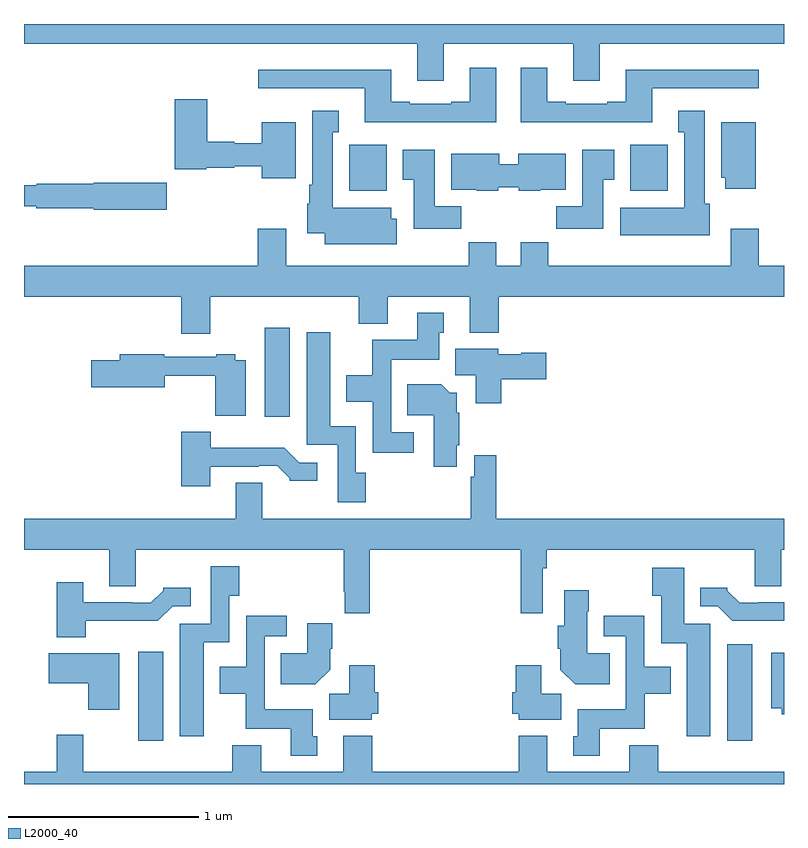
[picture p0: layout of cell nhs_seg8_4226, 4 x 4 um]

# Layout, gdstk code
import gdstk
lib = gdstk.Library(unit=1e-6, precision=1e-09)
def R(c, l, rs):  # rectangles x0, y0, x1, y1
    for r in rs: c.add(gdstk.rectangle(r[:2], r[2:], *l))
def P(c, l, *ps):  # polygons
    for p in ps: c.add(gdstk.Polygon(p, *l))
L2000_40 = (2000, 40)

nhs_seg8_4226 = lib.new_cell('nhs_seg8_4226')
R(nhs_seg8_4226, L2000_40, [(369.602,1150.128,369.733,1150.597), (372.701,1150.128,372.832,1150.636), (370.268,1151.832,370.399,1152.301), (370.712,1153.022,370.909,1153.264), (372.191,1153.022,372.388,1153.264)])
P(nhs_seg8_4226, L2000_40, [(371.209,1153.796),(371.891,1153.796),(371.891,1153.602),(372.031,1153.602),(372.031,1153.796),(373,1153.796),(373,1153.9),(369,1153.9),(369,1153.796),(371.069,1153.796),(371.069,1153.602),(371.209,1153.602)],
  [(371.485,1153.669),(371.345,1153.669),(371.345,1153.492),(371.249,1153.492),(371.249,1153.479),(371.029,1153.479),(371.029,1153.492),(370.933,1153.492),(370.933,1153.66),(370.233,1153.66),(370.233,1153.563),(370.793,1153.563),(370.793,1153.382),(371.485,1153.382)],
  [(372.307,1153.563),(372.868,1153.563),(372.868,1153.66),(372.167,1153.66),(372.167,1153.492),(372.071,1153.492),(372.071,1153.479),(371.851,1153.479),(371.851,1153.492),(371.755,1153.492),(371.755,1153.669),(371.615,1153.669),(371.615,1153.382),(372.307,1153.382)],
  [(370.429,1153.384),(370.25,1153.384),(370.25,1153.273),(370.107,1153.273),(370.107,1153.28),(369.964,1153.28),(369.964,1153.504),(369.794,1153.504),(369.794,1153.136),(369.96,1153.136),(369.96,1153.144),(370.107,1153.144),(370.107,1153.152),(370.25,1153.152),(370.25,1153.088),(370.429,1153.088)],
  [(370.963,1152.875),(370.933,1152.875),(370.933,1152.934),(370.624,1152.934),(370.624,1153.331),(370.657,1153.331),(370.657,1153.444),(370.517,1153.444),(370.517,1153.054),(370.502,1153.054),(370.502,1152.954),(370.49,1152.954),(370.49,1152.8),(370.583,1152.8),(370.583,1152.74),(370.963,1152.74)],
  [(372.61,1152.954),(372.583,1152.954),(372.583,1153.444),(372.443,1153.444),(372.443,1153.331),(372.476,1153.331),(372.476,1152.934),(372.137,1152.934),(372.137,1152.788),(372.61,1152.788)],
  [(372.85,1153.384),(372.671,1153.384),(372.671,1153.092),(372.692,1153.092),(372.692,1153.032),(372.85,1153.032)],
  [(372.049,1153.081),(372.106,1153.081),(372.106,1153.237),(371.939,1153.237),(371.939,1152.94),(371.8,1152.94),(371.8,1152.822),(372.049,1152.822)],
  [(371.3,1152.94),(371.161,1152.94),(371.161,1153.237),(370.994,1153.237),(370.994,1153.081),(371.051,1153.081),(371.051,1152.822),(371.3,1152.822)],
  [(371.496,1153.04),(371.604,1153.04),(371.604,1153.022),(371.718,1153.022),(371.718,1153.028),(371.851,1153.028),(371.851,1153.216),(371.6,1153.216),(371.6,1153.162),(371.5,1153.162),(371.5,1153.216),(371.249,1153.216),(371.249,1153.028),(371.382,1153.028),(371.382,1153.022),(371.496,1153.022)],
  [(369.751,1153.064),(369.366,1153.064),(369.366,1153.058),(369.066,1153.058),(369.066,1153.051),(369,1153.051),(369,1152.942),(369.064,1152.942),(369.064,1152.93),(369.366,1152.93),(369.366,1152.922),(369.751,1152.922)],
  [(369.979,1152.464),(370.763,1152.464),(370.763,1152.323),(370.915,1152.323),(370.915,1152.464),(371.345,1152.464),(371.345,1152.275),(371.498,1152.275),(371.498,1152.464),(373,1152.464),(373,1152.628),(372.867,1152.628),(372.867,1152.823),(372.719,1152.823),(372.719,1152.628),(371.759,1152.628),(371.759,1152.752),(371.615,1152.752),(371.615,1152.628),(371.485,1152.628),(371.485,1152.752),(371.341,1152.752),(371.341,1152.628),(370.381,1152.628),(370.381,1152.823),(370.229,1152.823),(370.229,1152.628),(369,1152.628),(369,1152.464),(369.827,1152.464),(369.827,1152.27),(369.979,1152.27)],
  [(371.05,1151.751),(370.932,1151.751),(370.932,1152.134),(371.185,1152.134),(371.185,1152.276),(371.209,1152.276),(371.209,1152.379),(371.069,1152.379),(371.069,1152.238),(370.834,1152.238),(370.834,1152.052),(370.697,1152.052),(370.697,1151.912),(370.836,1151.912),(370.836,1151.643),(371.05,1151.643)],
  [(370.799,1151.538),(370.746,1151.538),(370.746,1151.782),(370.612,1151.782),(370.612,1152.277),(370.487,1152.277),(370.487,1151.685),(370.65,1151.685),(370.65,1151.382),(370.799,1151.382)],
  [(371.513,1152.029),(371.749,1152.029),(371.749,1152.171),(371.616,1152.171),(371.616,1152.163),(371.496,1152.163),(371.496,1152.19),(371.27,1152.19),(371.27,1152.051),(371.378,1152.051),(371.378,1151.904),(371.513,1151.904)],
  [(370.168,1152.13),(370.113,1152.13),(370.113,1152.163),(370.013,1152.163),(370.013,1152.15),(369.738,1152.15),(369.738,1152.163),(369.503,1152.163),(369.503,1152.129),(369.354,1152.129),(369.354,1151.987),(369.742,1151.987),(369.742,1152.049),(370.006,1152.049),(370.006,1151.837),(370.168,1151.837)],
  [(371.278,1151.683),(371.291,1151.683),(371.291,1151.855),(371.278,1151.855),(371.278,1151.959),(371.24,1151.959),(371.195,1152.004),(371.017,1152.004),(371.017,1151.84),(371.156,1151.84),(371.156,1151.571),(371.278,1151.571)],
  [(369.979,1151.571),(370.235,1151.571),(370.235,1151.574),(370.334,1151.574),(370.398,1151.51),(370.398,1151.495),(370.543,1151.495),(370.543,1151.592),(370.449,1151.592),(370.371,1151.671),(369.982,1151.671),(369.982,1151.755),(369.827,1151.755),(369.827,1151.466),(369.979,1151.466)],
  [(371.37,1151.629),(371.37,1151.516),(371.35,1151.516),(371.35,1151.296),(370.255,1151.296),(370.255,1151.486),(370.115,1151.486),(370.115,1151.296),(369,1151.296),(369,1151.132),(369.449,1151.132),(369.449,1150.942),(369.589,1150.942),(369.589,1151.132),(370.684,1151.132),(370.684,1150.912),(370.688,1150.912),(370.688,1150.8),(370.82,1150.8),(370.82,1151.132),(371.614,1151.132),(371.614,1150.8),(371.73,1150.8),(371.73,1151.036),(371.75,1151.036),(371.75,1151.132),(372.845,1151.132),(372.845,1150.942),(372.985,1150.942),(372.985,1151.132),(373,1151.132),(373,1151.296),(371.486,1151.296),(371.486,1151.629)],
  [(369.946,1150.646),(370.08,1150.646),(370.08,1150.891),(370.133,1150.891),(370.133,1151.047),(369.984,1151.047),(369.984,1150.743),(369.821,1150.743),(369.821,1150.152),(369.946,1150.152)],
  [(372.613,1150.743),(372.475,1150.743),(372.475,1151.038),(372.307,1151.038),(372.307,1150.891),(372.353,1150.891),(372.353,1150.64),(372.488,1150.64),(372.488,1150.152),(372.613,1150.152)],
  [(369.326,1150.758),(369.705,1150.758),(369.783,1150.836),(369.877,1150.836),(369.877,1150.933),(369.732,1150.933),(369.732,1150.918),(369.668,1150.854),(369.569,1150.854),(369.569,1150.857),(369.313,1150.857),(369.313,1150.963),(369.173,1150.963),(369.173,1150.673),(369.326,1150.673)],
  [(373,1150.857),(372.865,1150.857),(372.865,1150.854),(372.766,1150.854),(372.702,1150.918),(372.702,1150.933),(372.56,1150.933),(372.56,1150.836),(372.651,1150.836),(372.727,1150.76),(373,1150.76)],
  [(372.083,1150.588),(371.965,1150.588),(371.965,1150.808),(371.973,1150.808),(371.973,1150.921),(371.843,1150.921),(371.843,1150.734),(371.81,1150.734),(371.81,1150.612),(371.822,1150.612),(371.822,1150.502),(371.9,1150.424),(372.083,1150.424)],
  [(372.031,1150.19),(372.267,1150.19),(372.267,1150.376),(372.403,1150.376),(372.403,1150.516),(372.264,1150.516),(372.264,1150.786),(372.051,1150.786),(372.051,1150.677),(372.168,1150.677),(372.168,1150.294),(371.915,1150.294),(371.915,1150.152),(371.891,1150.152),(371.891,1150.05),(372.031,1150.05)],
  [(370.543,1150.152),(370.519,1150.152),(370.519,1150.294),(370.266,1150.294),(370.266,1150.677),(370.384,1150.677),(370.384,1150.786),(370.17,1150.786),(370.17,1150.516),(370.031,1150.516),(370.031,1150.376),(370.168,1150.376),(370.168,1150.19),(370.403,1150.19),(370.403,1150.05),(370.543,1150.05)],
  [(370.612,1150.502),(370.612,1150.612),(370.622,1150.612),(370.622,1150.747),(370.49,1150.747),(370.49,1150.588),(370.351,1150.588),(370.351,1150.424),(370.534,1150.424)],
  [(373,1150.591),(372.932,1150.591),(372.932,1150.298),(372.987,1150.298),(372.987,1150.266),(373,1150.266)],
  [(369.502,1150.588),(369.129,1150.588),(369.129,1150.43),(369.338,1150.43),(369.338,1150.29),(369.502,1150.29)],
  [(371.827,1150.376),(371.722,1150.376),(371.722,1150.525),(371.588,1150.525),(371.588,1150.383),(371.57,1150.383),(371.57,1150.269),(371.604,1150.269),(371.604,1150.238),(371.827,1150.238)],
  [(370.83,1150.269),(370.865,1150.269),(370.865,1150.383),(370.847,1150.383),(370.847,1150.525),(370.712,1150.525),(370.712,1150.376),(370.607,1150.376),(370.607,1150.238),(370.83,1150.238)],
  [(373,1149.964),(372.338,1149.964),(372.338,1150.105),(372.185,1150.105),(372.185,1149.964),(371.755,1149.964),(371.755,1150.153),(371.603,1150.153),(371.603,1149.964),(370.832,1149.964),(370.832,1150.153),(370.679,1150.153),(370.679,1149.964),(370.249,1149.964),(370.249,1150.105),(370.097,1150.105),(370.097,1149.964),(369.313,1149.964),(369.313,1150.159),(369.173,1150.159),(369.173,1149.964),(369,1149.964),(369,1149.9),(373,1149.9)])

lib.write_gds('nhs_seg8_4226.gds')
